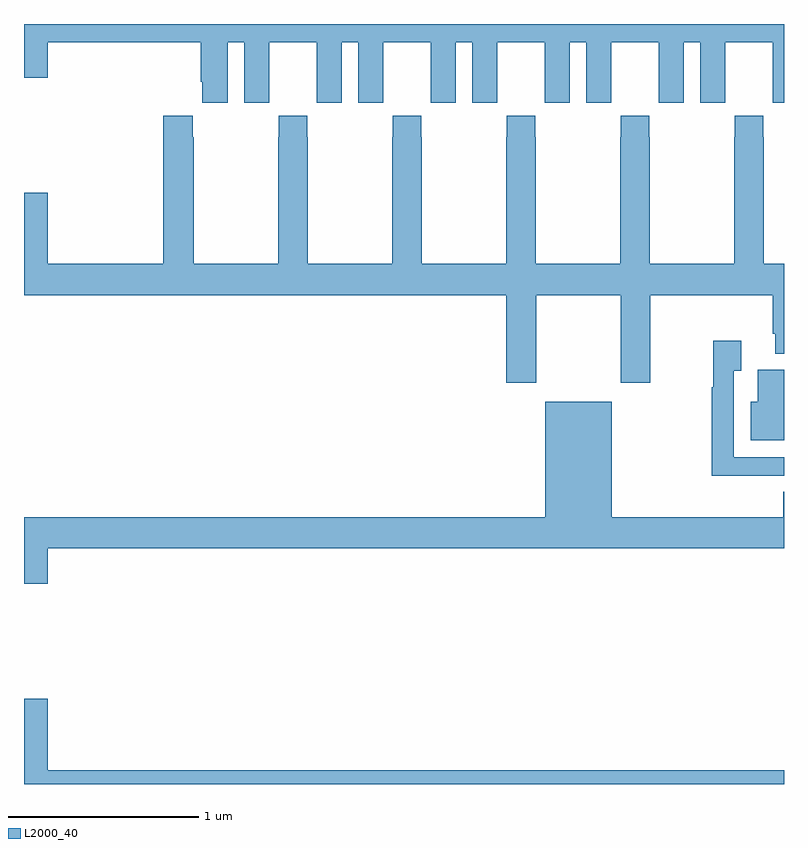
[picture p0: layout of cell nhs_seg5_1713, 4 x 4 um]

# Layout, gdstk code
import gdstk
lib = gdstk.Library(unit=1e-6, precision=1e-09)
def P(c, l, *ps):  # polygons
    for p in ps: c.add(gdstk.Polygon(p, *l))
L2000_40 = (2000, 40)

nhs_seg5_1713 = lib.new_cell('nhs_seg5_1713')
P(nhs_seg5_1713, L2000_40, [(214.072,912.704),(214.16,912.704),(214.16,912.384),(214.29,912.384),(214.29,912.496),(214.291,912.496),(214.291,912.704),(214.541,912.704),(214.541,912.496),(214.542,912.496),(214.542,912.384),(214.672,912.384),(214.672,912.704),(214.76,912.704),(214.76,912.384),(214.89,912.384),(214.89,912.496),(214.891,912.496),(214.891,912.704),(215.141,912.704),(215.141,912.496),(215.142,912.496),(215.142,912.384),(215.272,912.384),(215.272,912.704),(215.36,912.704),(215.36,912.384),(215.49,912.384),(215.49,912.496),(215.491,912.496),(215.491,912.704),(215.741,912.704),(215.741,912.496),(215.742,912.496),(215.742,912.384),(215.872,912.384),(215.872,912.704),(215.96,912.704),(215.96,912.384),(216.09,912.384),(216.09,912.496),(216.091,912.496),(216.091,912.704),(216.341,912.704),(216.341,912.496),(216.342,912.496),(216.342,912.384),(216.472,912.384),(216.472,912.704),(216.56,912.704),(216.56,912.384),(216.69,912.384),(216.69,912.496),(216.691,912.496),(216.691,912.704),(216.941,912.704),(216.941,912.496),(216.942,912.496),(216.942,912.384),(217,912.384),(217,912.799),(213,912.799),(213,912.516),(213.124,912.516),(213.124,912.704),(213.929,912.704),(213.929,912.496),(213.938,912.496),(213.938,912.384),(214.072,912.384)],
  [(215.697,911.372),(216.142,911.372),(216.142,910.911),(216.297,910.911),(216.297,911.372),(216.941,911.372),(216.941,911.17),(216.953,911.17),(216.953,911.063),(217,911.063),(217,911.536),(216.894,911.536),(216.894,912.203),(216.891,912.203),(216.891,912.316),(216.741,912.316),(216.741,912.203),(216.739,912.203),(216.739,911.536),(216.294,911.536),(216.294,912.203),(216.291,912.203),(216.291,912.316),(216.141,912.316),(216.141,912.203),(216.139,912.203),(216.139,911.536),(215.694,911.536),(215.694,912.203),(215.691,912.203),(215.691,912.316),(215.541,912.316),(215.541,912.203),(215.539,912.203),(215.539,911.536),(215.094,911.536),(215.094,912.203),(215.091,912.203),(215.091,912.316),(214.941,912.316),(214.941,912.203),(214.939,912.203),(214.939,911.536),(214.494,911.536),(214.494,912.203),(214.491,912.203),(214.491,912.316),(214.341,912.316),(214.341,912.203),(214.339,912.203),(214.339,911.536),(213.894,911.536),(213.894,912.203),(213.887,912.203),(213.887,912.316),(213.734,912.316),(213.734,911.536),(213.124,911.536),(213.124,911.911),(213,911.911),(213,911.372),(215.537,911.372),(215.537,910.911),(215.697,910.911)],
  [(216.911,910.422),(217,910.422),(217,910.518),(216.735,910.518),(216.735,910.975),(216.775,910.975),(216.775,911.131),(216.627,911.131),(216.627,910.886),(216.619,910.886),(216.619,910.421),(216.911,910.421)],
  [(217,910.978),(216.863,910.978),(216.863,910.81),(216.824,910.81),(216.824,910.607),(217,910.607)],
  [(213.124,910.04),(217,910.04),(217,910.337),(216.995,910.337),(216.995,910.204),(216.094,910.204),(216.094,910.81),(215.744,910.81),(215.744,910.204),(213,910.204),(213,909.852),(213.124,909.852)],
  [(213.124,909.247),(213,909.247),(213,908.799),(217,908.799),(217,908.872),(213.124,908.872)])

lib.write_gds('nhs_seg5_1713.gds')
